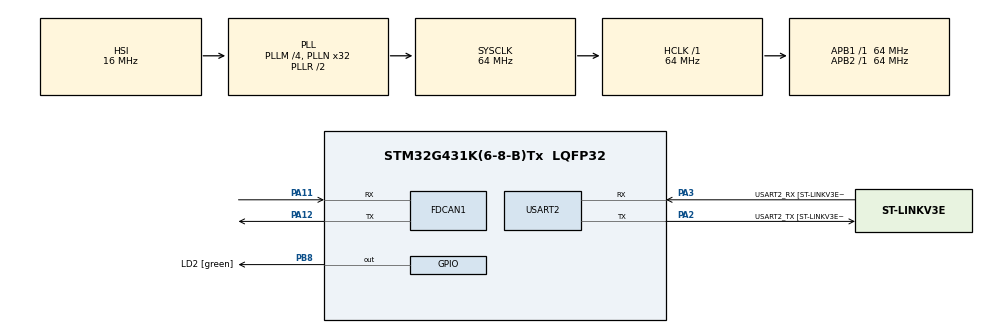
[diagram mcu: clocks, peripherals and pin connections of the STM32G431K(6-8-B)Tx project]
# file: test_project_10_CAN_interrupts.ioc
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FDCAN1.NominalPrescaler=8
FDCAN1.NominalSyncJumpWidth=3
FDCAN1.NominalTimeSeg1=7
FDCAN1.NominalTimeSeg2=8
FDCAN1.TxFifoQueueMode=FDCAN_TX_FIFO_OPERATION
Mcu.Family=STM32G4
Mcu.Name=STM32G431K(6-8-B)Tx
Mcu.Package=LQFP32
NVIC.FDCAN1_IT0_IRQn=true\:1\:0\:true\:false\:true\:true\:true
NVIC.PriorityGroup=NVIC_PRIORITYGROUP_4
PA11.Mode=FDCAN_Activate
PA11.Signal=FDCAN1_RX
PA12.Mode=FDCAN_Activate
PA12.Signal=FDCAN1_TX
PA13.GPIO_Label=T_SWDIO
PA13.Mode=Serial_Wire
PA13.Signal=SYS_JTMS-SWDIO
PA14.GPIO_Label=T_SWCLK
PA14.Mode=Serial_Wire
PA14.Signal=SYS_JTCK-SWCLK
PA2.GPIO_Label=USART2_TX [ST-LINKV3E_VCP_RX]
PA2.Mode=Asynchronous
PA2.Signal=USART2_TX
PA3.GPIO_Label=USART2_RX [ST-LINKV3E_VCP_TX]
PA3.Mode=Asynchronous
PA3.Signal=USART2_RX
PB3.GPIO_Label=T_SWO
PB3.Signal=SYS_JTDO-SWO
PB8-BOOT0.GPIO_Label=LD2 [green]
PB8-BOOT0.Signal=GPIO_Output
ProjectManager.HeapSize=0x200
ProjectManager.StackSize=0x400
ProjectManager.TargetToolchain=STM32CubeIDE
RCC.ADC12Freq_Value=64000000
RCC.AHBFreq_Value=64000000
RCC.APB1Freq_Value=64000000
RCC.APB1TimFreq_Value=64000000
RCC.APB2Freq_Value=64000000
RCC.APB2TimFreq_Value=64000000
RCC.CortexFreq_Value=64000000
RCC.EXTERNAL_CLOCK_VALUE=12288000
RCC.HCLKFreq_Value=64000000
RCC.HSE_VALUE=8000000
RCC.HSI48_VALUE=48000000
RCC.HSI_VALUE=16000000
RCC.LSE_VALUE=32768
RCC.PLLM=RCC_PLLM_DIV4
RCC.PLLN=32
RCC.SYSCLKFreq_VALUE=64000000
RCC.SYSCLKSource=RCC_SYSCLKSOURCE_PLLCLK
RCC.USBFreq_Value=64000000
RCC.VCOOutputFreq_Value=128000000
USART2.VirtualMode-Asynchronous=VM_ASYNC
USART2.WordLength=WORDLENGTH_8B
VP_SYS_VS_DBSignals.Mode=DisableDeadBatterySignals
board=NUCLEO-G431KB

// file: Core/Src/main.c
/* USER CODE BEGIN Header */
/**
  ******************************************************************************
  * @file           : main.c
  * @brief          : Main program body
  ******************************************************************************
  * @attention
  *
  * <h2><center>&copy; Copyright (c) 2020 STMicroelectronics.
  * All rights reserved.</center></h2>
  *
  * This software component is licensed by ST under BSD 3-Clause license,
  * the "License"; You may not use this file except in compliance with the
  * License. You may obtain a copy of the License at:
  *                        opensource.org/licenses/BSD-3-Clause
  *
  ******************************************************************************
  */
/* USER CODE END Header */
#include "main.h"

/* USER CODE BEGIN Includes */
#include "stdio.h"
/* USER CODE END Includes */

/* USER CODE BEGIN PTD */

typedef enum
{
	VOID_COMMAND,
	RETRANSMIT_CAN_MESSAGE,
	STOP_CAN_INTERRUPTS
} CANCommandDecodeType;

/* USER CODE END PTD */

/* USER CODE BEGIN PD */
#define UART_MESSAGE_SIZE			10					// количество символов в пакете данных UART
#define UART_MESSAGE_TIMEOUT		10					// таймаут UART. Выяснить, что это.
#define CAN_MESSAGE_SIZE			8
/* USER CODE END PD */

FDCAN_HandleTypeDef hfdcan1;

UART_HandleTypeDef huart2;

/* USER CODE BEGIN PV */
uint8_t CAN_previous_message_buffer[CAN_MESSAGE_SIZE];
/* USER CODE END PV */

void SystemClock_Config(void);
static void MX_GPIO_Init(void);
static void MX_USART2_UART_Init(void);
static void MX_FDCAN1_Init(void);

/* USER CODE BEGIN 0 */

void CAN_previous_message_buffer_init(uint8_t CAN_message_size, uint8_t* CAN_previous_message_buffer_pointer)
{
	for (int i = 0; i < CAN_message_size; i++)
	{
		*(CAN_previous_message_buffer_pointer + i) = 0;								// инициализируем нулями глобальный буфер для хранения предыдущего сообщения CAN
	}
}

_Bool check_CAN_buffer (FDCAN_HandleTypeDef *hfdcan, uint8_t* CAN_previous_message_buffer_pointer)
{
	FDCAN_RxHeaderTypeDef rx_header = CAN_rx_header_get();							// получаем наш собственный заголовок для CAN-сообщения
	uint8_t rx_data_buffer[CAN_MESSAGE_SIZE];										// создаём массив, в который будет помещено новое CAN-сообщение

	HAL_FDCAN_GetRxMessage(hfdcan, FDCAN_RX_FIFO0, &rx_header, rx_data_buffer);		// считываем содержимое FIFO-буфера CAN, помещаем в созданный массив

	CAN_message_decode(rx_data_buffer);							// запускаем расшифровку сообщения

	return 1;
}

void CAN_message_decode(uint8_t* rx_data_buffer_pointer)
{
	CANCommandDecodeType recieved_command = *rx_data_buffer_pointer;				// в нулевом элементе сообщения содержится номер команды
	if (recieved_command == RETRANSMIT_CAN_MESSAGE)										// если номер команды соответствует команде "изменить координату мотора"
	{
		uint8_t test_data[8] = {0, 1, 2, 3, 0, 0, 0, 0};
		CAN_test_transmit(&hfdcan1, test_data);
		HAL_FDCAN_ActivateNotification(&hfdcan1, FDCAN_IT_TX_COMPLETE, FDCAN_TX_BUFFER0);
	}
	if (recieved_command == STOP_CAN_INTERRUPTS)										// если номер команды соответствует команде "изменить координату мотора"
	{
		uint8_t test_data[8] = {0, 1, 2, 3, 0, 0, 0, 0};
		//CAN_test_transmit(&hfdcan1, test_data);
		//HAL_FDCAN_DeactivateNotification(&hfdcan1, FDCAN_IT_TX_COMPLETE);
	}
}

FDCAN_RxHeaderTypeDef CAN_rx_header_get(void)
{
	FDCAN_RxHeaderTypeDef tx_header;

	tx_header.Identifier = 0x0;
	tx_header.IdType = FDCAN_STANDARD_ID;
	tx_header.RxFrameType = FDCAN_DATA_FRAME;
	tx_header.DataLength = FDCAN_DLC_BYTES_8;
	tx_header.ErrorStateIndicator = FDCAN_ESI_ACTIVE;
	tx_header.BitRateSwitch = FDCAN_BRS_OFF;
	tx_header.FDFormat = FDCAN_CLASSIC_CAN;
	tx_header.RxTimestamp = 0xFFFF;
	tx_header.FilterIndex = 0;
	tx_header.IsFilterMatchingFrame = 0;

	return tx_header;
}

FDCAN_TxHeaderTypeDef CAN_tx_header_get (void)
{
	FDCAN_TxHeaderTypeDef tx_header;

	tx_header.Identifier = 0x0;
	tx_header.IdType = FDCAN_EXTENDED_ID;
	tx_header.TxFrameType = FDCAN_DATA_FRAME;
	tx_header.DataLength = FDCAN_DLC_BYTES_8;
	tx_header.ErrorStateIndicator = FDCAN_ESI_ACTIVE;
	tx_header.BitRateSwitch = FDCAN_BRS_OFF;
	tx_header.FDFormat = FDCAN_CLASSIC_CAN;
	tx_header.TxEventFifoControl = FDCAN_STORE_TX_EVENTS;
	tx_header.MessageMarker = 0;

	return tx_header;
}

void CAN_test_transmit(FDCAN_HandleTypeDef *hfdcan, uint8_t* data_to_send)
{
	FDCAN_TxHeaderTypeDef test_header = CAN_tx_header_get();
	uint8_t data_buffer[8];
	for (int i = 0; i < sizeof(data_buffer); i++)
	{
		data_buffer[i] = *(data_to_send + i);
	}
	//uint8_t test_data[8] = {0x11, 0x22, 0x33, 0x44, 0x55, 0x66, 0x77, 0x88};
	HAL_FDCAN_AddMessageToTxFifoQ(hfdcan, &test_header, data_buffer);
}

/* USER CODE END 0 */

int main(void)
{

  /* MCU Configuration--------------------------------------------------------*/

  /* Reset of all peripherals, Initializes the Flash interface and the Systick. */
  HAL_Init();

  /* Configure the system clock */
  SystemClock_Config();

  /* Initialize all configured peripherals */
  MX_GPIO_Init();
  MX_USART2_UART_Init();
  MX_FDCAN1_Init();
  /* USER CODE BEGIN 2 */

  //HAL_FDCAN_ConfigInterruptLines(&hfdcan1, FDCAN_IT_GROUP_RX_FIFO0, FDCAN_INTERRUPT_LINE0);
  //HAL_FDCAN_ActivateNotification(&hfdcan1, FDCAN_IT_TX_FIFO_EMPTY, FDCAN_TX_BUFFER0);
  //HAL_FDCAN_ConfigInterruptLines(&hfdcan1, FDCAN_IT_GROUP_RX_FIFO0, FDCAN_INTERRUPT_LINE0);
  //HAL_FDCAN_ActivateNotification(&hfdcan1, FDCAN_IT_TX_COMPLETE, FDCAN_TX_BUFFER0);
  HAL_FDCAN_Start(&hfdcan1);
  HAL_FDCAN_ActivateNotification(&hfdcan1, FDCAN_IT_RX_FIFO0_NEW_MESSAGE, FDCAN_TX_BUFFER0);

  uint8_t test_data[8] = {1, 2, 3, 4, 5, 6,7, 8};

  /* USER CODE END 2 */

  /* Infinite loop */
  while (1)
  {

    /* USER CODE BEGIN 3 */
	//check_CAN_buffer(&hfdcan1, CAN_previous_message_buffer);
  }
  /* USER CODE END 3 */
}

void SystemClock_Config(void)
{
  RCC_OscInitTypeDef RCC_OscInitStruct = {0};
  RCC_ClkInitTypeDef RCC_ClkInitStruct = {0};
  RCC_PeriphCLKInitTypeDef PeriphClkInit = {0};

  /** Configure the main internal regulator output voltage
  */
  HAL_PWREx_ControlVoltageScaling(PWR_REGULATOR_VOLTAGE_SCALE1);
  /** Initializes the RCC Oscillators according to the specified parameters
  * in the RCC_OscInitTypeDef structure.
  */
  RCC_OscInitStruct.OscillatorType = RCC_OSCILLATORTYPE_HSI;
  RCC_OscInitStruct.HSIState = RCC_HSI_ON;
  RCC_OscInitStruct.HSICalibrationValue = RCC_HSICALIBRATION_DEFAULT;
  RCC_OscInitStruct.PLL.PLLState = RCC_PLL_ON;
  RCC_OscInitStruct.PLL.PLLSource = RCC_PLLSOURCE_HSI;
  RCC_OscInitStruct.PLL.PLLM = RCC_PLLM_DIV4;
  RCC_OscInitStruct.PLL.PLLN = 32;
  RCC_OscInitStruct.PLL.PLLP = RCC_PLLP_DIV2;
  RCC_OscInitStruct.PLL.PLLQ = RCC_PLLQ_DIV2;
  RCC_OscInitStruct.PLL.PLLR = RCC_PLLR_DIV2;
  if (HAL_RCC_OscConfig(&RCC_OscInitStruct) != HAL_OK)
  {
    Error_Handler();
  }
  /** Initializes the CPU, AHB and APB buses clocks
  */
  RCC_ClkInitStruct.ClockType = RCC_CLOCKTYPE_HCLK|RCC_CLOCKTYPE_SYSCLK
                              |RCC_CLOCKTYPE_PCLK1|RCC_CLOCKTYPE_PCLK2;
  RCC_ClkInitStruct.SYSCLKSource = RCC_SYSCLKSOURCE_PLLCLK;
  RCC_ClkInitStruct.AHBCLKDivider = RCC_SYSCLK_DIV1;
  RCC_ClkInitStruct.APB1CLKDivider = RCC_HCLK_DIV1;
  RCC_ClkInitStruct.APB2CLKDivider = RCC_HCLK_DIV1;

  if (HAL_RCC_ClockConfig(&RCC_ClkInitStruct, FLASH_LATENCY_1) != HAL_OK)
  {
    Error_Handler();
  }
  /** Initializes the peripherals clocks
  */
  PeriphClkInit.PeriphClockSelection = RCC_PERIPHCLK_USART2|RCC_PERIPHCLK_FDCAN;
  PeriphClkInit.Usart2ClockSelection = RCC_USART2CLKSOURCE_PCLK1;
  PeriphClkInit.FdcanClockSelection = RCC_FDCANCLKSOURCE_PCLK1;
  if (HAL_RCCEx_PeriphCLKConfig(&PeriphClkInit) != HAL_OK)
  {
    Error_Handler();
  }
}

static void MX_FDCAN1_Init(void)
{

  hfdcan1.Instance = FDCAN1;
  hfdcan1.Init.ClockDivider = FDCAN_CLOCK_DIV1;
  hfdcan1.Init.FrameFormat = FDCAN_FRAME_CLASSIC;
  hfdcan1.Init.Mode = FDCAN_MODE_NORMAL;
  hfdcan1.Init.AutoRetransmission = DISABLE;
  hfdcan1.Init.TransmitPause = DISABLE;
  hfdcan1.Init.ProtocolException = DISABLE;
  hfdcan1.Init.NominalPrescaler = 8;
  hfdcan1.Init.NominalSyncJumpWidth = 3;
  hfdcan1.Init.NominalTimeSeg1 = 7;
  hfdcan1.Init.NominalTimeSeg2 = 8;
  hfdcan1.Init.DataPrescaler = 1;
  hfdcan1.Init.DataSyncJumpWidth = 1;
  hfdcan1.Init.DataTimeSeg1 = 1;
  hfdcan1.Init.DataTimeSeg2 = 1;
  hfdcan1.Init.StdFiltersNbr = 0;
  hfdcan1.Init.ExtFiltersNbr = 0;
  hfdcan1.Init.TxFifoQueueMode = FDCAN_TX_FIFO_OPERATION;
  if (HAL_FDCAN_Init(&hfdcan1) != HAL_OK)
  {
    Error_Handler();
  }

}

static void MX_USART2_UART_Init(void)
{

  huart2.Instance = USART2;
  huart2.Init.BaudRate = 115200;
  huart2.Init.WordLength = UART_WORDLENGTH_8B;
  huart2.Init.StopBits = UART_STOPBITS_1;
  huart2.Init.Parity = UART_PARITY_NONE;
  huart2.Init.Mode = UART_MODE_TX_RX;
  huart2.Init.HwFlowCtl = UART_HWCONTROL_NONE;
  huart2.Init.OverSampling = UART_OVERSAMPLING_16;
  huart2.Init.OneBitSampling = UART_ONE_BIT_SAMPLE_DISABLE;
  huart2.Init.ClockPrescaler = UART_PRESCALER_DIV1;
  huart2.AdvancedInit.AdvFeatureInit = UART_ADVFEATURE_NO_INIT;
  if (HAL_UART_Init(&huart2) != HAL_OK)
  {
    Error_Handler();
  }
  if (HAL_UARTEx_SetTxFifoThreshold(&huart2, UART_TXFIFO_THRESHOLD_1_8) != HAL_OK)
  {
    Error_Handler();
  }
  if (HAL_UARTEx_SetRxFifoThreshold(&huart2, UART_RXFIFO_THRESHOLD_1_8) != HAL_OK)
  {
    Error_Handler();
  }
  if (HAL_UARTEx_DisableFifoMode(&huart2) != HAL_OK)
  {
    Error_Handler();
  }

}

static void MX_GPIO_Init(void)
{
  GPIO_InitTypeDef GPIO_InitStruct = {0};

  /* GPIO Ports Clock Enable */
  __HAL_RCC_GPIOA_CLK_ENABLE();
  __HAL_RCC_GPIOB_CLK_ENABLE();

  /*Configure GPIO pin Output Level */
  HAL_GPIO_WritePin(LD2_GPIO_Port, LD2_Pin, GPIO_PIN_RESET);

  /*Configure GPIO pin : LD2_Pin */
  GPIO_InitStruct.Pin = LD2_Pin;
  GPIO_InitStruct.Mode = GPIO_MODE_OUTPUT_PP;
  GPIO_InitStruct.Pull = GPIO_NOPULL;
  GPIO_InitStruct.Speed = GPIO_SPEED_FREQ_LOW;
  HAL_GPIO_Init(LD2_GPIO_Port, &GPIO_InitStruct);

}

void Error_Handler(void)
{
}

/************************ (C) COPYRIGHT STMicroelectronics *****END OF FILE****/
